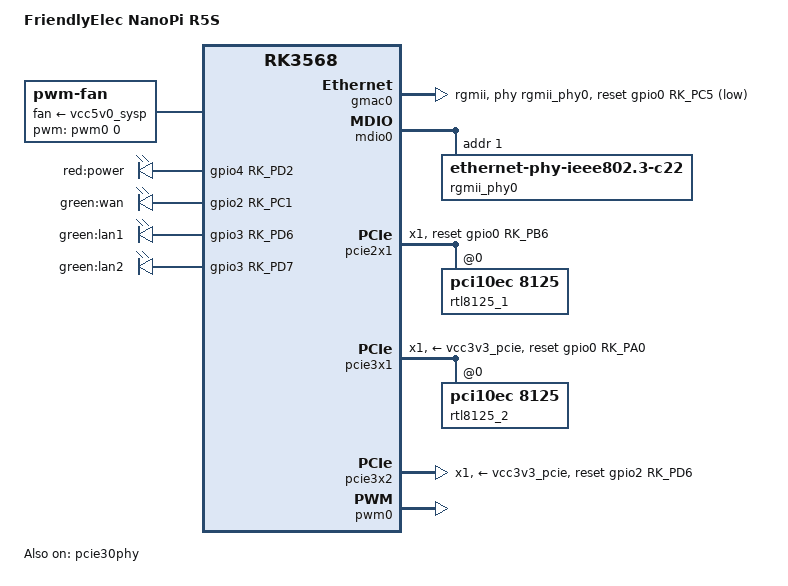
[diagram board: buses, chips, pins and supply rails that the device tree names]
// SPDX-License-Identifier: (GPL-2.0+ OR MIT)


/dts-v1/;
#include "rk3568-nanopi-common.dtsi"

/ {
	model = "FriendlyElec NanoPi R5S";
	compatible = "friendlyarm,nanopi-r5s", "rockchip,rk3568";

	aliases {
		ethernet0 = &gmac0;
	};

	fan: pwm-fan {
		compatible = "pwm-fan";
		cooling-levels = <0 18 60 100 255>;
		#cooling-cells = <2>;
		fan-supply = <&vcc5v0_sysp>;
		pwms = <&pwm0 0 50000 0>;
	};

	gpio-leds {
		compatible = "gpio-leds";

		sys_led: led-sys {
			gpios = <&gpio4 RK_PD2 GPIO_ACTIVE_HIGH>;
			label = "red:power";
			linux,default-trigger = "heartbeat";
			pinctrl-names = "default";
			pinctrl-0 = <&sys_led_pin>;
		};

		wan_led: led-wan {
			gpios = <&gpio2 RK_PC1 GPIO_ACTIVE_HIGH>;
			label = "green:wan";
			pinctrl-names = "default";
			pinctrl-0 = <&wan_led_pin>;
		};

		lan1_led: led-lan1 {
			gpios = <&gpio3 RK_PD6 GPIO_ACTIVE_HIGH>;
			label = "green:lan1";
			pinctrl-names = "default";
			pinctrl-0 = <&lan1_led_pin>;
		};

		lan2_led: led-lan2 {
			gpios = <&gpio3 RK_PD7 GPIO_ACTIVE_HIGH>;
			label = "green:lan2";
			pinctrl-names = "default";
			pinctrl-0 = <&lan2_led_pin>;
		};
	};
};

&gmac0 {
	assigned-clocks = <&cru SCLK_GMAC0_RX_TX>, <&cru SCLK_GMAC0>;
	assigned-clock-parents = <&cru SCLK_GMAC0_RGMII_SPEED>, <&cru CLK_MAC0_2TOP>;
	assigned-clock-rates = <0>, <125000000>;
	clock_in_out = "output";
	phy-handle = <&rgmii_phy0>;
	phy-mode = "rgmii";
	pinctrl-names = "default";
	pinctrl-0 = <&gmac0_miim
		     &gmac0_tx_bus2
		     &gmac0_rx_bus2
		     &gmac0_rgmii_clk
		     &gmac0_rgmii_bus>;
	snps,reset-gpio = <&gpio0 RK_PC5 GPIO_ACTIVE_LOW>;
	snps,reset-active-low;
	/* Reset time is 15ms, 50ms for rtl8211f */
	snps,reset-delays-us = <0 15000 50000>;
	tx_delay = <0x3c>;
	rx_delay = <0x2f>;
	status = "okay";
};

&mdio0 {
	rgmii_phy0: ethernet-phy@1 {
		compatible = "ethernet-phy-ieee802.3-c22";
		reg = <1>;
		pinctrl-0 = <&eth_phy0_reset_pin>;
		pinctrl-names = "default";
		realtek,led-data = <0x6d60>;
	};
};

&pcie2x1 {
	num-lanes = <1>;
	reset-gpios = <&gpio0 RK_PB6 GPIO_ACTIVE_HIGH>;
	status = "okay";

	pcie@0,0 {
		reg = <0x00000000 0 0 0 0>;
		#address-cells = <3>;
		#size-cells = <2>;

		rtl8125_1: pcie@1,0 {
			compatible = "pci10ec,8125";
			reg = <0x000000 0 0 0 0>;

			realtek,led-data = <0x0 0x0 0x2b 0x200>;
		};
	};
};

&pcie30phy {
	data-lanes = <1 2>;
	status = "okay";
};

&pcie3x1 {
	num-lanes = <1>;
	reset-gpios = <&gpio0 RK_PA0 GPIO_ACTIVE_HIGH>;
	vpcie3v3-supply = <&vcc3v3_pcie>;
	status = "okay";

	pcie@0,0 {
		reg = <0x00100000 0 0 0 0>;
		#address-cells = <3>;
		#size-cells = <2>;

		rtl8125_2: pcie@10,0 {
			compatible = "pci10ec,8125";
			reg = <0x000000 0 0 0 0>;

			realtek,led-data = <0x0 0x0 0x2b 0x200>;
		};
	};
};

&pcie3x2 {
	num-lanes = <1>;
	num-ib-windows = <8>;
	num-ob-windows = <8>;
	reset-gpios = <&gpio2 RK_PD6 GPIO_ACTIVE_HIGH>;
	vpcie3v3-supply = <&vcc3v3_pcie>;
	status = "okay";
};

&pinctrl {
	gmac0 {
		eth_phy0_reset_pin: eth-phy0-reset-pin {
			rockchip,pins = <0 RK_PC4 RK_FUNC_GPIO &pcfg_pull_up>;
		};
	};

	gpio-leds {
		sys_led_pin: sys-led-pin {
			rockchip,pins = <4 RK_PD2 RK_FUNC_GPIO &pcfg_pull_none>;
		};

		wan_led_pin: wan-led-pin {
			rockchip,pins = <2 RK_PC1 RK_FUNC_GPIO &pcfg_pull_none>;
		};

		lan1_led_pin: lan1-led-pin {
			rockchip,pins = <3 RK_PD6 RK_FUNC_GPIO &pcfg_pull_none>;
		};

		lan2_led_pin: lan2-led-pin {
			rockchip,pins = <3 RK_PD7 RK_FUNC_GPIO &pcfg_pull_none>;
		};
	};

	gpio-key {
		key1_pin: key1-pin {
			rockchip,pins = <4 RK_PA0 RK_FUNC_GPIO &pcfg_pull_up>;
		};
	};
};

&pwm0 {
	status = "okay";
};
